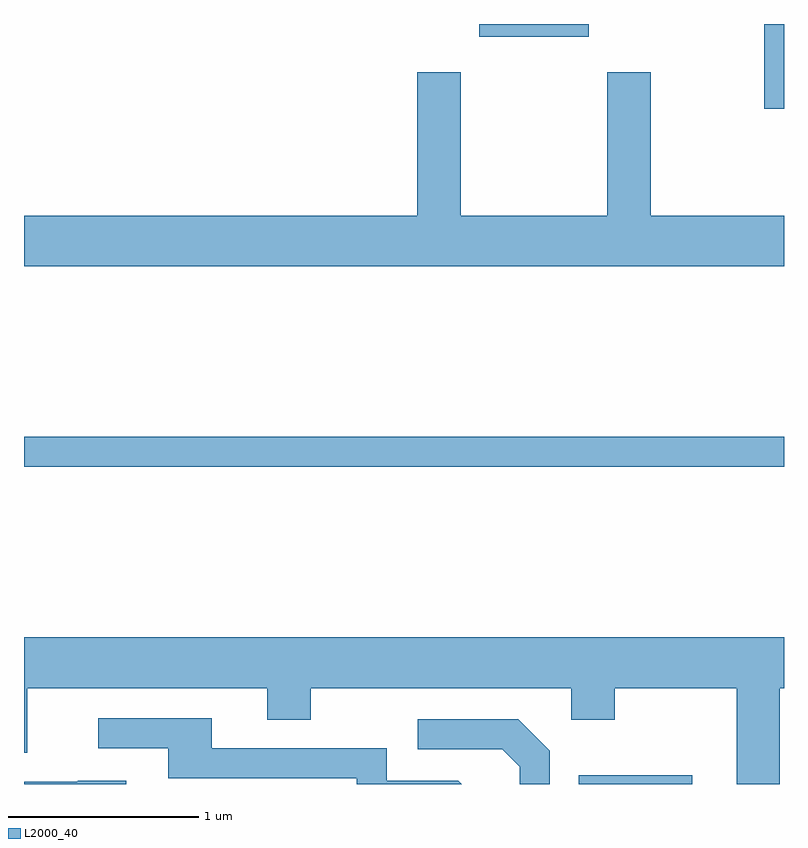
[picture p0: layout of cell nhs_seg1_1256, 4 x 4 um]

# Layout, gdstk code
import gdstk
lib = gdstk.Library(unit=1e-6, precision=1e-09)
def R(c, l, rs):  # rectangles x0, y0, x1, y1
    for r in rs: c.add(gdstk.rectangle(r[:2], r[2:], *l))
def P(c, l, *ps):  # polygons
    for p in ps: c.add(gdstk.Polygon(p, *l))
L2000_40 = (2000, 40)

nhs_seg1_1256 = lib.new_cell('nhs_seg1_1256')
R(nhs_seg1_1256, L2000_40, [(226.531,925.712,227.129,925.759), (223.611,927.381,227.611,927.539), (227.506,929.266,227.611,929.712), (226.006,929.646,226.584,929.712)])
P(nhs_seg1_1256, L2000_40, [(227.611,928.704),(226.909,928.704),(226.909,929.459),(226.681,929.459),(226.681,928.704),(225.909,928.704),(225.909,929.459),(225.681,929.459),(225.681,928.704),(223.611,928.704),(223.611,928.436),(227.611,928.436)],
  [(227.589,926.216),(227.611,926.216),(227.611,926.484),(223.611,926.484),(223.611,925.876),(223.629,925.876),(223.629,926.216),(224.891,926.216),(224.891,926.051),(225.119,926.051),(225.119,926.216),(226.491,926.216),(226.491,926.051),(226.719,926.051),(226.719,926.216),(227.361,926.216),(227.361,925.712),(227.589,925.712)],
  [(225.897,925.729),(225.519,925.729),(225.519,925.899),(224.599,925.899),(224.599,926.059),(224.003,926.059),(224.003,925.901),(224.371,925.901),(224.371,925.741),(225.361,925.741),(225.361,925.712),(225.914,925.712)],
  [(226.379,925.887),(226.212,926.054),(225.683,926.054),(225.683,925.896),(226.129,925.896),(226.221,925.804),(226.221,925.712),(226.379,925.712)],
  [(224.149,925.729),(223.895,925.729),(223.895,925.724),(223.611,925.724),(223.611,925.712),(224.149,925.712)])

lib.write_gds('nhs_seg1_1256.gds')
